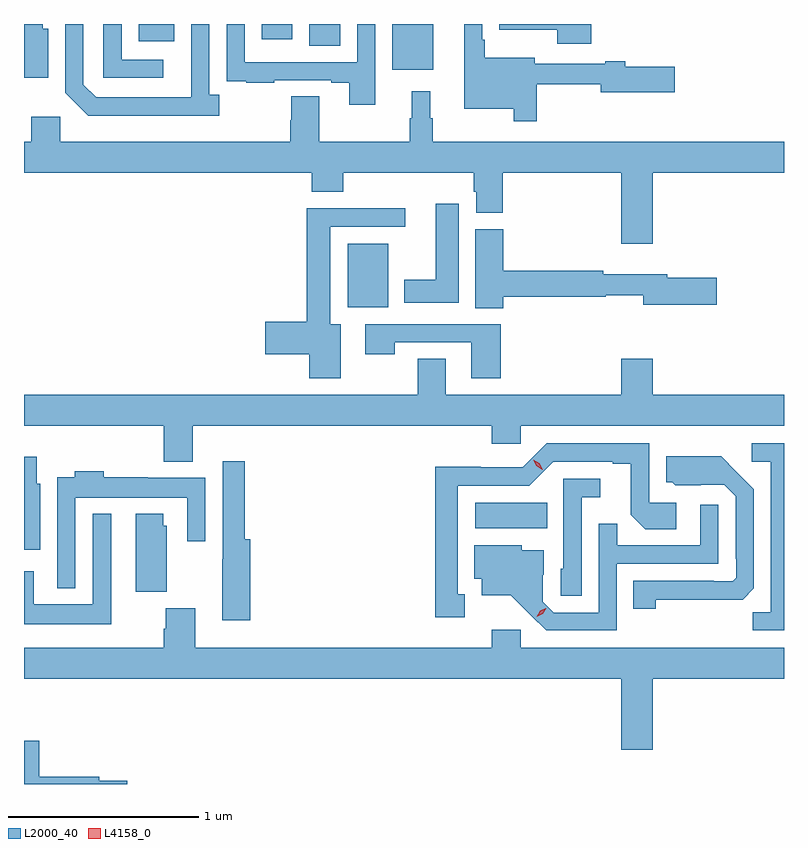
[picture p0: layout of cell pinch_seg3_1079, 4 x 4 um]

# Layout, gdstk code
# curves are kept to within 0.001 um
import gdstk
lib = gdstk.Library(unit=1e-6, precision=1e-09)
def R(c, l, rs):  # rectangles x0, y0, x1, y1
    for r in rs: c.add(gdstk.rectangle(r[:2], r[2:], *l))
def P(c, l, *ps):  # polygons
    for p in ps: c.add(gdstk.Polygon(p, *l))
L2000_40 = (2000, 40)
L4158_0 = (4158, 0)

pinch_seg3_1079 = lib.new_cell('pinch_seg3_1079')
R(pinch_seg3_1079, L2000_40, [(320.082,685.724,320.462,685.858), (319.412,686.888,319.624,687.223), (319.646,688.139,319.861,688.379), (319.208,688.264,319.372,688.379), (318.311,688.289,318.499,688.379), (318.959,688.299,319.12,688.379)])
P(pinch_seg3_1079, L2000_40, [(320.693,688.379),(320.21,688.379),(320.21,688.349),(320.515,688.349),(320.515,688.275),(320.693,688.275)],
  [(318.442,688.191),(318.222,688.191),(318.222,688.379),(318.126,688.379),(318.126,688.095),(318.442,688.095)],
  [(318.736,688.006),(318.684,688.006),(318.684,688.379),(318.588,688.379),(318.587,687.993),(318.087,687.993),(318.021,688.059),(318.021,688.379),(317.925,688.379),(317.925,688.017),(318.046,687.896),(318.736,687.896)],
  [(319.557,688.379),(319.461,688.379),(319.461,688.179),(318.87,688.179),(318.87,688.379),(318.774,688.379),(318.774,688.186),(318.775,688.186),(318.775,688.077),(318.877,688.077),(318.877,688.071),(319.025,688.071),(319.025,688.083),(319.325,688.083),(319.325,688.071),(319.421,688.071),(319.421,687.954),(319.557,687.954)],
  [(320.407,688.062),(320.744,688.062),(320.744,688.019),(321.133,688.019),(321.133,688.154),(320.872,688.154),(320.872,688.183),(320.768,688.183),(320.768,688.17),(320.395,688.17),(320.395,688.201),(320.134,688.201),(320.134,688.297),(320.121,688.297),(320.121,688.379),(320.024,688.379),(320.024,687.932),(320.286,687.932),(320.286,687.867),(320.407,687.867)],
  [(317.836,688.354),(317.806,688.354),(317.806,688.379),(317.708,688.379),(317.708,688.097),(317.836,688.097)],
  [(319.223,687.497),(319.388,687.497),(319.388,687.596),(320.075,687.596),(320.075,687.495),(320.087,687.495),(320.087,687.385),(320.228,687.385),(320.228,687.596),(320.852,687.596),(320.852,687.222),(321.016,687.222),(321.016,687.596),(321.708,687.596),(321.708,687.76),(319.858,687.76),(319.858,687.884),(319.846,687.884),(319.846,688.024),(319.748,688.024),(319.748,687.884),(319.737,687.884),(319.737,687.76),(319.261,687.76),(319.261,687.998),(319.114,687.998),(319.114,687.873),(319.109,687.873),(319.109,687.76),(317.898,687.76),(317.898,687.892),(317.747,687.892),(317.747,687.76),(317.708,687.76),(317.708,687.596),(319.223,687.596)],
  [(319.996,687.433),(319.874,687.433),(319.874,687.034),(319.709,687.034),(319.709,686.912),(319.996,686.912)],
  [(319.375,686.8),(319.321,686.8),(319.321,687.312),(319.714,687.312),(319.714,687.41),(319.196,687.41),(319.196,686.813),(318.978,686.813),(318.978,686.642),(319.208,686.642),(319.208,686.514),(319.375,686.514)],
  [(320.231,686.944),(320.77,686.944),(320.77,686.952),(320.966,686.952),(320.966,686.902),(321.355,686.902),(321.355,687.044),(321.094,687.044),(321.094,687.061),(320.756,687.061),(320.756,687.08),(320.231,687.08),(320.231,687.3),(320.084,687.3),(320.084,686.884),(320.231,686.884)],
  [(320.216,686.799),(319.503,686.799),(319.503,686.64),(319.659,686.64),(319.659,686.703),(320.063,686.703),(320.063,686.514),(320.216,686.514)],
  [(318.595,686.264),(320.171,686.264),(320.171,686.171),(320.322,686.171),(320.322,686.264),(321.708,686.264),(321.708,686.428),(321.016,686.428),(321.016,686.617),(320.852,686.617),(320.852,686.428),(319.927,686.428),(319.927,686.618),(319.78,686.618),(319.78,686.428),(317.708,686.428),(317.708,686.264),(318.443,686.264),(318.443,686.075),(318.595,686.075)],
  [(321.708,686.172),(321.537,686.172),(321.537,686.076),(321.639,686.076),(321.639,685.283),(321.544,685.283),(321.544,685.188),(321.708,685.188)],
  [(320.029,685.377),(319.99,685.377),(319.99,685.95),(320.367,685.95),(320.493,686.076),(320.807,686.076),(320.807,686.064),(320.901,686.064),(320.901,685.796),(320.977,685.72),(321.142,685.72),(321.142,685.86),(321,685.86),(321,686.172),(320.46,686.172),(320.334,686.046),(320.112,686.046),(320.112,686.048),(319.872,686.048),(319.872,685.257),(320.029,685.257)],
  [(321.033,685.348),(321.49,685.349),(321.549,685.408),(321.549,685.93),(321.377,686.104),(321.089,686.104),(321.089,685.968),(321.12,685.968),(321.136,685.952),(321.393,685.953),(321.453,685.893),(321.453,685.564),(321.456,685.564),(321.456,685.464),(321.438,685.446),(321.338,685.446),(321.338,685.449),(320.914,685.449),(320.914,685.302),(321.033,685.302)],
  [(317.794,685.959),(317.776,685.959),(317.776,686.101),(317.708,686.101),(317.708,685.611),(317.794,685.611)],
  [(318.899,685.666),(318.869,685.666),(318.869,686.077),(318.753,686.077),(318.753,685.562),(318.752,685.562),(318.752,685.242),(318.899,685.242)],
  [(317.979,685.886),(318.567,685.886),(318.567,685.656),(318.663,685.656),(318.663,685.99),(318.359,685.99),(318.359,685.993),(318.128,685.993),(318.128,686.026),(317.975,686.026),(317.975,685.993),(317.883,685.993),(317.883,685.409),(317.979,685.409)],
  [(320.643,685.889),(320.74,685.889),(320.74,685.986),(320.547,685.986),(320.547,685.512),(320.532,685.512),(320.532,685.369),(320.643,685.369)],
  [(320.829,685.539),(321.363,685.539),(321.363,685.849),(321.267,685.849),(321.267,685.635),(320.831,685.635),(320.831,685.748),(320.733,685.748),(320.733,685.281),(320.496,685.281),(320.439,685.338),(320.439,685.48),(320.443,685.48),(320.443,685.609),(320.328,685.609),(320.328,685.636),(320.078,685.636),(320.078,685.46),(320.117,685.46),(320.117,685.373),(320.269,685.373),(320.456,685.188),(320.829,685.188)],
  [(318.46,685.737),(318.442,685.737),(318.442,685.801),(318.296,685.801),(318.296,685.39),(318.46,685.39)],
  [(318.166,685.801),(318.069,685.801),(318.069,685.324),(317.76,685.324),(317.76,685.498),(317.708,685.498),(317.708,685.22),(318.166,685.22)],
  [(321.016,684.932),(321.708,684.932),(321.708,685.096),(320.322,685.096),(320.322,685.192),(320.171,685.192),(320.171,685.096),(318.608,685.096),(318.608,685.305),(318.455,685.305),(318.455,685.196),(318.443,685.196),(318.443,685.096),(317.708,685.096),(317.708,684.932),(320.852,684.932),(320.852,684.558),(321.016,684.558)],
  [(318.251,684.396),(318.104,684.396),(318.104,684.416),(317.789,684.416),(317.789,684.607),(317.708,684.607),(317.708,684.379),(318.251,684.379)])
P(pinch_seg3_1079, L4158_0, [(320.407,685.26),(320.407,685.26),(320.424,685.29),(320.455,685.305),(320.456,685.305),(320.456,685.305),(320.438,685.275),(320.407,685.26)],
  [(320.436,686.033),(320.405,686.053),(320.388,686.086),(320.388,686.086),(320.389,686.086),(320.42,686.066),(320.437,686.034),(320.437,686.033)])

lib.write_gds('pinch_seg3_1079.gds')
